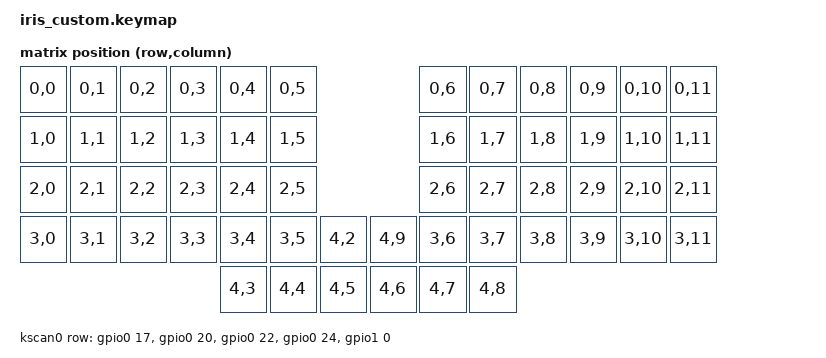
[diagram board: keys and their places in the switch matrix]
#include <dt-bindings/zmk/matrix_transform.h>

/ {
    chosen {
        zmk,kscan = &kscan0;
        zmk,matrix-transform = &default_transform;
    };

    default_transform: keymap_transform_0 {
        compatible = "zmk,matrix-transform";
        columns = <16>;
        rows = <4>;
        map = <
RC(0,0) RC(0,1) RC(0,2) RC(0,3) RC(0,4) RC(0,5)                 RC(0,6) RC(0,7) RC(0,8) RC(0,9) RC(0,10) RC(0,11)
RC(1,0) RC(1,1) RC(1,2) RC(1,3) RC(1,4) RC(1,5)                 RC(1,6) RC(1,7) RC(1,8) RC(1,9) RC(1,10) RC(1,11)
RC(2,0) RC(2,1) RC(2,2) RC(2,3) RC(2,4) RC(2,5)                 RC(2,6) RC(2,7) RC(2,8) RC(2,9) RC(2,10) RC(2,11)
RC(3,0) RC(3,1) RC(3,2) RC(3,3) RC(3,4) RC(3,5) RC(4,2) RC(4,9) RC(3,6) RC(3,7) RC(3,8) RC(3,9) RC(3,10) RC(3,11)
                                RC(4,3) RC(4,4) RC(4,5) RC(4,6) RC(4,7) RC(4,8)
        >;
    };

    kscan0: kscan {
        compatible = "zmk,kscan-gpio-matrix";
        wakeup-source;

        diode-direction = "col2row";
        row-gpios
            = <&gpio0 17 (GPIO_ACTIVE_HIGH | GPIO_PULL_DOWN)>
            , <&gpio0 20 (GPIO_ACTIVE_HIGH | GPIO_PULL_DOWN)>
            , <&gpio0 22 (GPIO_ACTIVE_HIGH | GPIO_PULL_DOWN)>
            , <&gpio0 24 (GPIO_ACTIVE_HIGH | GPIO_PULL_DOWN)>
            , <&gpio1 0 (GPIO_ACTIVE_HIGH | GPIO_PULL_DOWN)>
            ;

    };
};
